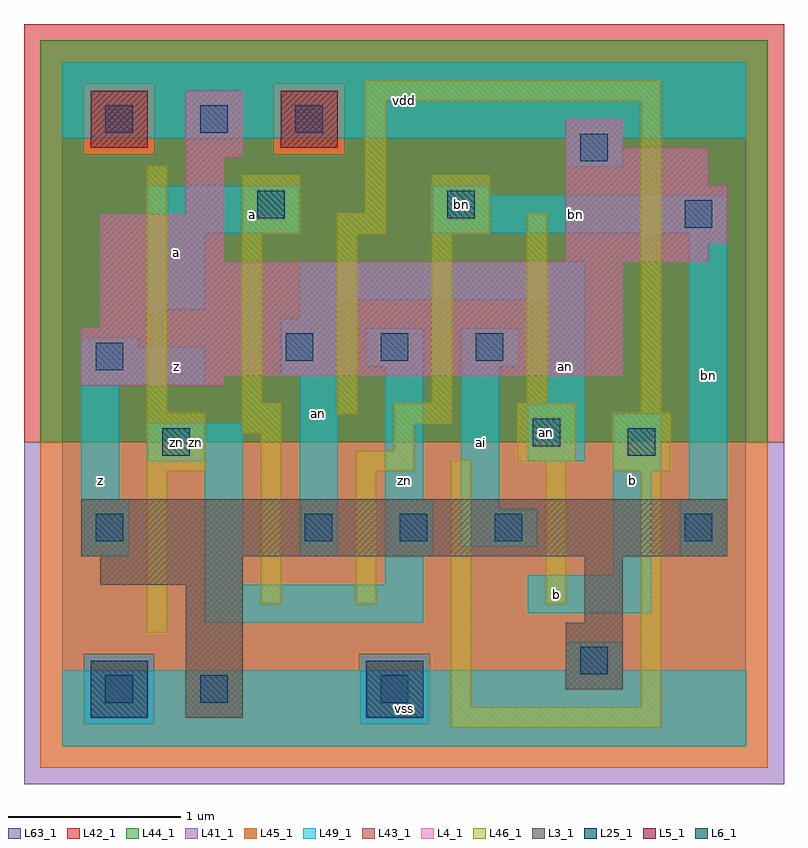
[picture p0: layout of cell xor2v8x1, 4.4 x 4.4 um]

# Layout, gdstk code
import gdstk
lib = gdstk.Library(unit=1e-6, precision=1e-09)
def R(c, l, rs):  # rectangles x0, y0, x1, y1
    for r in rs: c.add(gdstk.rectangle(r[:2], r[2:], *l))
def A(c, l, x, y, w, h, nx, ny, dx, dy):  # array of equal rectangles
    R(c, l, [(x+i*dx, y+j*dy, x+i*dx+w, y+j*dy+h) for i in range(nx) for j in range(ny)])
L3_1 = (3, 1)
L4_1 = (4, 1)
L5_1 = (5, 1)
L6_1 = (6, 1)
L25_1 = (25, 1)
L41_1 = (41, 1)
L42_1 = (42, 1)
L43_1 = (43, 1)
L44_1 = (44, 1)
L45_1 = (45, 1)
L46_1 = (46, 1)
L49_1 = (49, 1)
L63_1 = (63, 1)

xor2v8x1 = lib.new_cell('xor2v8x1')
R(xor2v8x1, L3_1, [(0.715,0.165,1.045,0.935), (2.915,0.33,3.245,0.715), (3.025,0.715,3.245,1.1), (0.22,0.935,1.045,1.1), (0.11,1.1,3.85,1.43)])
R(xor2v8x1, L4_1, [(0.11,2.09,0.935,2.145), (0.11,2.145,3.245,2.42), (0.22,2.42,3.245,2.805), (0.22,2.805,0.935,3.08), (2.915,2.805,3.74,2.915), (2.915,2.915,3.85,3.245), (0.715,3.08,0.935,3.41), (2.915,3.245,3.74,3.465), (0.715,3.41,1.045,3.795), (2.915,3.465,3.245,3.63)])
R(xor2v8x1, L5_1, [(0.165,3.465,0.495,3.795), (1.265,3.465,1.595,3.795)])
R(xor2v8x1, L6_1, [(0.165,0.165,0.495,0.495), (1.76,0.165,2.09,0.495)])
A(xor2v8x1, L25_1, 1.405, 1.185, 0.16, 0.16, 3, 1, 0.55, 0)
A(xor2v8x1, L25_1, 1.295, 2.23, 0.16, 0.16, 3, 1, 0.55, 0)
A(xor2v8x1, L25_1, 0.25, 3.55, 0.16, 0.16, 3, 1, 0.55, 0)
R(xor2v8x1, L25_1, [(0.25,0.25,0.41,0.41), (0.8,0.25,0.96,0.41), (1.845,0.25,2.005,0.41), (3,0.415,3.16,0.575), (0.195,1.185,0.355,1.345), (3.605,1.185,3.765,1.345), (0.58,1.68,0.74,1.84), (3.275,1.68,3.435,1.84), (2.725,1.735,2.885,1.895), (0.195,2.175,0.355,2.335), (3.605,3,3.765,3.16), (1.13,3.055,1.29,3.215), (2.23,3.055,2.39,3.215), (3,3.385,3.16,3.545)])
R(xor2v8x1, L41_1, [(-0.22,-0.22,4.18,1.76)])
R(xor2v8x1, L42_1, [(-0.22,1.76,4.18,4.18)])
R(xor2v8x1, L43_1, [(0.165,0.165,0.495,0.495), (0.715,0.165,1.045,0.935), (1.76,0.165,2.09,0.495), (2.915,0.33,3.245,0.715), (3.025,0.715,3.245,1.1), (0.22,0.935,1.045,1.1), (0.11,1.1,3.85,1.43), (0.11,2.09,0.935,2.145), (0.11,2.145,3.245,2.42), (0.22,2.42,3.245,2.805), (0.22,2.805,0.935,3.08), (2.915,2.805,3.74,2.915), (2.915,2.915,3.85,3.245), (0.715,3.08,0.935,3.41), (2.915,3.245,3.74,3.465), (0.715,3.41,1.045,3.795), (0.165,3.465,0.495,3.795), (1.265,3.465,1.595,3.795), (2.915,3.465,3.245,3.63)])
R(xor2v8x1, L44_1, [(0.125,0.125,0.535,0.535), (1.72,0.125,2.13,0.535), (-0.125,1.76,4.085,3.425), (-0.125,3.425,0.125,3.835), (0.535,3.425,1.225,3.835), (1.635,3.425,4.085,3.835), (-0.125,3.835,4.085,4.085)])
R(xor2v8x1, L45_1, [(-0.125,-0.125,4.085,0.125), (-0.125,0.125,0.125,0.535), (0.535,0.125,1.72,0.535), (2.13,0.125,4.085,0.535), (-0.125,0.535,4.085,1.76), (0.125,3.425,0.535,3.835), (1.225,3.425,1.635,3.835)])
R(xor2v8x1, L46_1, [(2.25,0.105,3.47,0.225), (2.25,0.225,2.37,1.655), (3.35,0.225,3.47,1.59), (0.49,0.655,0.61,1.59), (1.15,0.82,1.27,1.81), (1.7,0.82,1.82,1.59), (2.8,0.82,2.92,1.645), (0.49,1.59,0.83,1.93), (1.7,1.59,2.04,1.71), (3.185,1.59,3.525,1.93), (2.635,1.645,2.975,1.985), (1.92,1.71,2.04,1.865), (1.04,1.81,1.27,1.985), (1.92,1.865,2.26,1.985), (1.59,1.92,1.71,2.965), (0.49,1.93,0.61,3.36), (3.35,1.93,3.47,3.735), (1.04,1.985,1.16,2.965), (2.14,1.985,2.26,2.965), (2.69,1.985,2.81,3.085), (1.04,2.965,1.38,3.305), (1.59,2.965,1.875,3.085), (2.14,2.965,2.48,3.305), (1.755,3.085,1.875,3.735), (1.755,3.735,3.47,3.855)])
R(xor2v8x1, L49_1, [(0,0,3.96,0.44), (2.915,0.44,3.245,0.605), (0.825,0.715,2.09,0.935), (2.695,0.77,3.41,0.99), (0.825,0.935,1.045,1.65), (1.87,0.935,2.09,1.1), (3.19,0.99,3.41,1.595), (0.11,1.1,0.385,1.43), (1.375,1.1,1.595,2.145), (1.87,1.1,2.145,1.43), (3.575,1.1,3.85,1.43), (2.31,1.155,2.75,1.375), (2.31,1.375,2.53,2.2), (0.11,1.43,0.33,2.09), (1.87,1.43,2.09,2.2), (3.63,1.43,3.85,2.97), (3.19,1.595,3.465,1.925), (0.495,1.65,1.045,1.87), (2.695,1.65,3.025,1.98), (2.805,1.98,3.025,2.585), (0.11,2.09,0.825,2.31), (1.265,2.145,1.595,2.475), (1.76,2.2,2.09,2.42), (2.31,2.2,2.64,2.42), (0.11,2.31,0.44,2.365), (1.375,2.475,1.595,2.585), (0.495,2.53,0.825,2.97), (1.375,2.585,3.025,2.805), (0.495,2.97,1.375,3.245), (2.145,2.97,3.85,3.19), (2.145,3.19,2.475,3.245), (2.915,3.355,3.245,3.52), (0,3.52,3.96,3.96)])
R(xor2v8x1, L63_1, [(0,0,3.96,3.96)])
xor2v8x1.add(gdstk.Label('zn', (0.66,1.76), layer=49, texttype=1))
xor2v8x1.add(gdstk.Label('bn', (2.31,3.135), layer=49, texttype=1))
xor2v8x1.add(gdstk.Label('an', (2.805,1.815), layer=49, texttype=1))
xor2v8x1.add(gdstk.Label('z', (0.22,1.54), layer=49, texttype=1))
xor2v8x1.add(gdstk.Label('z', (0.66,2.2), layer=49, texttype=1))
xor2v8x1.add(gdstk.Label('a', (0.66,2.86), layer=49, texttype=1))
xor2v8x1.add(gdstk.Label('zn', (0.77,1.76), layer=49, texttype=1))
xor2v8x1.add(gdstk.Label('an', (1.485,1.925), layer=49, texttype=1))
xor2v8x1.add(gdstk.Label('a', (1.1,3.08), layer=49, texttype=1))
xor2v8x1.add(gdstk.Label('vss', (1.98,0.22), layer=49, texttype=1))
xor2v8x1.add(gdstk.Label('b', (2.86,0.88), layer=49, texttype=1))
xor2v8x1.add(gdstk.Label('an', (2.915,2.2), layer=49, texttype=1))
xor2v8x1.add(gdstk.Label('ai', (2.42,1.76), layer=49, texttype=1))
xor2v8x1.add(gdstk.Label('zn', (1.98,1.54), layer=49, texttype=1))
xor2v8x1.add(gdstk.Label('vdd', (1.98,3.74), layer=49, texttype=1))
xor2v8x1.add(gdstk.Label('b', (3.3,1.54), layer=49, texttype=1))
xor2v8x1.add(gdstk.Label('bn', (2.97,3.08), layer=49, texttype=1))
xor2v8x1.add(gdstk.Label('bn', (3.74,2.145), layer=49, texttype=1))

lib.write_gds('xor2v8x1.gds')
